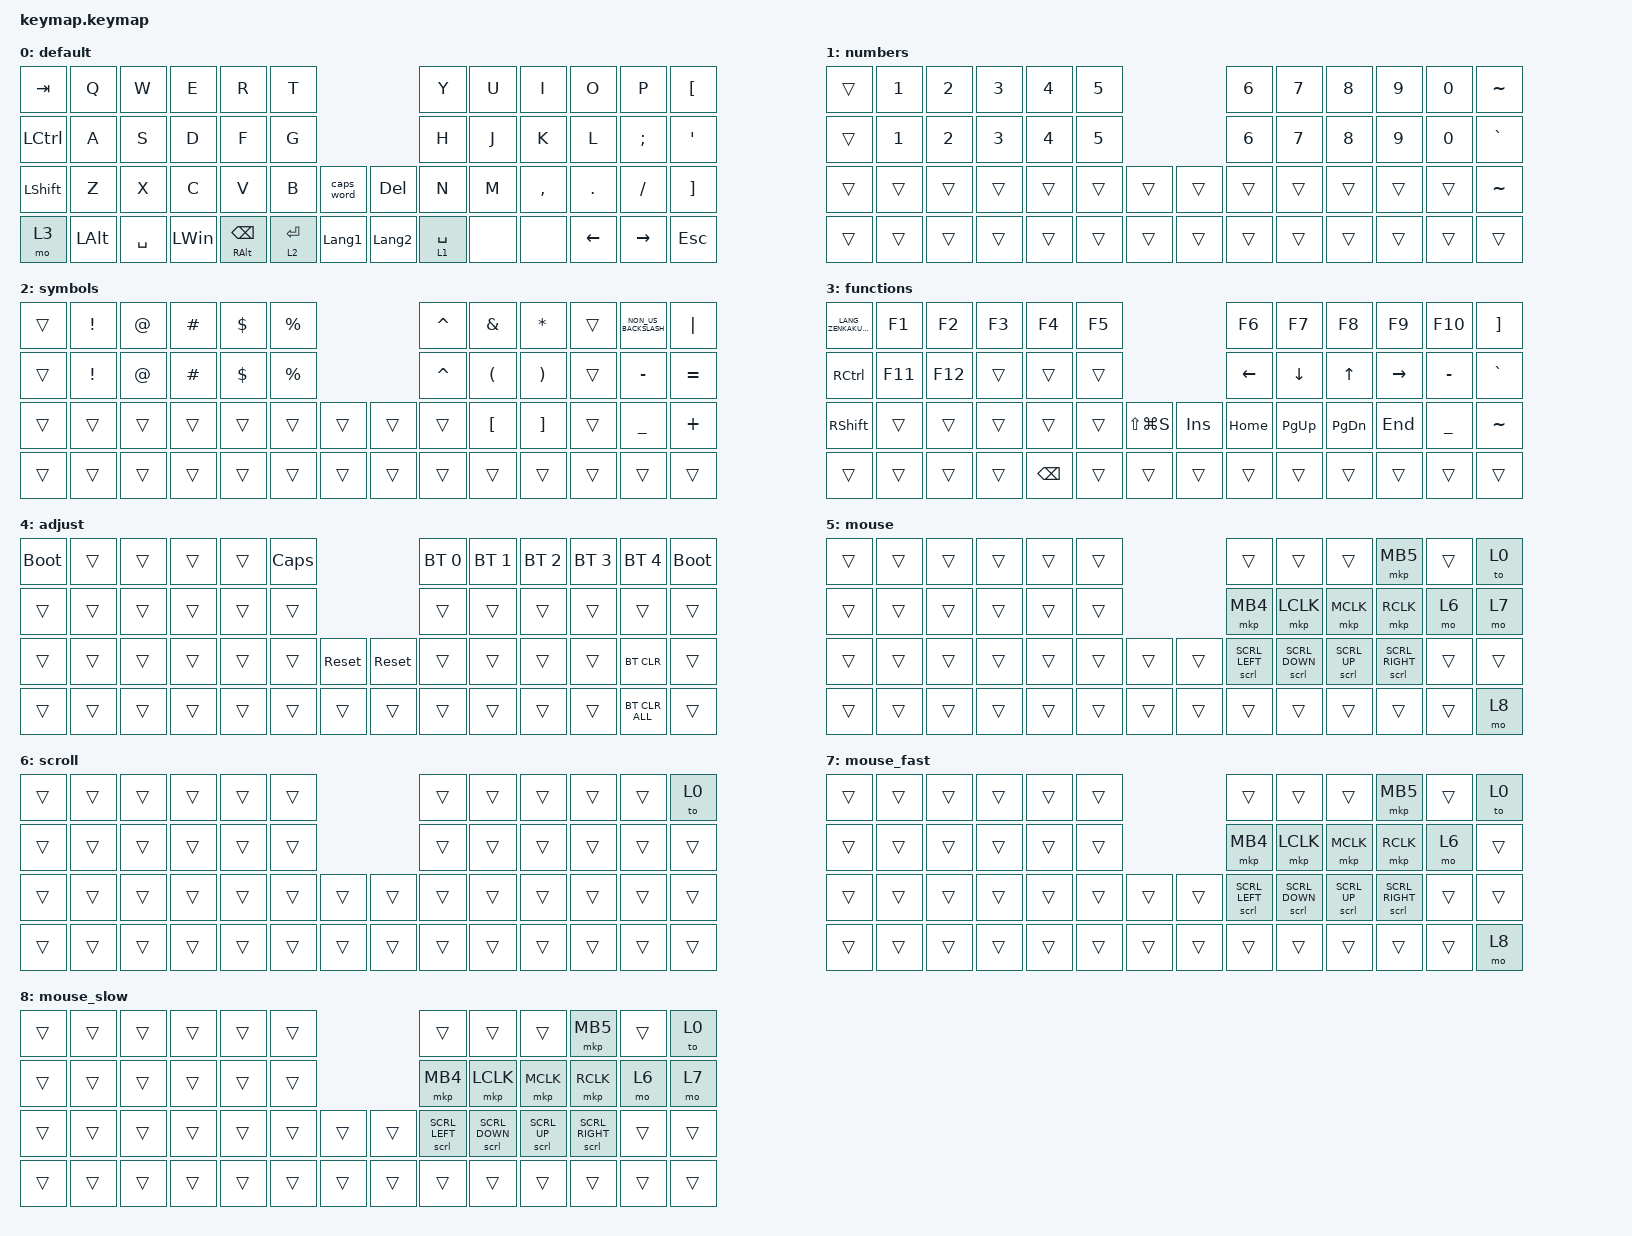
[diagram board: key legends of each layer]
#define ZMK_POINTING_DEFAULT_SCRL_VAL 3000  // hi-res(smooth=y): 3000*40/1000 = 120単位 = 1ノッチ/tick

#include <behaviors.dtsi>
#include <dt-bindings/zmk/bt.h>
#include <dt-bindings/zmk/keys.h>
#include <dt-bindings/zmk/pointing.h>

/ {
    macros {
        // 1タップで正確に1ノッチ(120単位)スクロールする離散スクロール。
        // behavior_queue の wait は「実行後、次の項目までの遅延」のため、
        // macro_wait_time 60 を macro_press の前に置く必要がある。
        // これにより press 項目に wait=60 が付き、その60ms保持中に
        // trigger-period-ms=40ms の最初のティックが発火して120単位=1ノッチを送信する。

        scrl: scrl {
            compatible = "zmk,behavior-macro-one-param";
            #binding-cells = <1>;
            wait-ms = <0>;
            bindings =
                <&macro_wait_time 60>,
                <&macro_param_1to1>,
                <&macro_press>,
                <&msc MACRO_PLACEHOLDER &macro_param_1to1>,
                <&macro_release>,
                <&msc MACRO_PLACEHOLDER>;
        };
    };

    combos {
        compatible = "zmk,combos";

        to_adjust {
            bindings = <&mo 4>;
            key-positions = <44 45>;
        };

        tab {
            bindings = <&kp TAB>;
            key-positions = <14 15>;
        };

        to_adjust_left {
            bindings = <&mo 4>;
            key-positions = <38 44>;
        };

        to_adjust_right {
            bindings = <&mo 4>;
            key-positions = <51 45>;
        };
    };

    keymap {
        compatible = "zmk,keymap";

        default {
            bindings = <
&kp TAB         &kp Q         &kp W      &kp E         &kp R                    &kp T                                        &kp Y        &kp U  &kp I      &kp O     &kp P            &kp LEFT_BRACKET
&kp LCTRL       &kp A         &kp S      &kp D         &kp F                    &kp G                                        &kp H        &kp J  &kp K      &kp L     &kp SEMI         &kp SQT
&kp LEFT_SHIFT  &kp Z         &kp X      &kp C         &kp V                    &kp B        &caps_word      &kp DELETE      &kp N        &kp M  &kp COMMA  &kp DOT   &kp SLASH        &kp RIGHT_BRACKET
&mo 3           &kp LEFT_ALT  &kp SPACE  &kp LEFT_WIN  &mt RIGHT_ALT BACKSPACE  &lt 2 ENTER  &kp LANGUAGE_1  &kp LANGUAGE_2  &lt 1 SPACE  &none  &none      &kp LEFT  &kp RIGHT_ARROW  &kp ESCAPE
            >;
        };

        numbers {
            bindings = <
&trans  &kp NUMBER_1  &kp NUMBER_2  &kp NUMBER_3  &kp NUMBER_4  &kp N5                        &kp NUMBER_6  &kp NUMBER_7  &kp NUMBER_8  &kp NUMBER_9  &kp NUMBER_0  &kp TILDE
&trans  &kp NUMBER_1  &kp NUMBER_2  &kp NUMBER_3  &kp NUMBER_4  &kp NUMBER_5                  &kp NUMBER_6  &kp NUMBER_7  &kp NUMBER_8  &kp NUMBER_9  &kp NUMBER_0  &kp GRAVE
&trans  &trans        &trans        &trans        &trans        &trans        &trans  &trans  &trans        &trans        &trans        &trans        &trans        &kp TILDE
&trans  &trans        &trans        &trans        &trans        &trans        &trans  &trans  &trans        &trans        &trans        &trans        &trans        &trans
            >;
        };

        symbols {
            bindings = <
&trans  &kp EXCLAMATION  &kp AT_SIGN  &kp HASH  &kp DOLLAR  &kp PERCENT                  &kp CARET  &kp AMPERSAND         &kp ASTERISK           &trans  &kp NON_US_BACKSLASH  &kp PIPE
&trans  &kp EXCLAMATION  &kp AT_SIGN  &kp HASH  &kp DOLLAR  &kp PERCENT                  &kp CARET  &kp LEFT_PARENTHESIS  &kp RIGHT_PARENTHESIS  &trans  &kp MINUS             &kp EQUAL
&trans  &trans           &trans       &trans    &trans      &trans       &trans  &trans  &trans     &kp LEFT_BRACKET      &kp RIGHT_BRACKET      &trans  &kp UNDERSCORE        &kp PLUS
&trans  &trans           &trans       &trans    &trans      &trans       &trans  &trans  &trans     &trans                &trans                 &trans  &trans                &trans
            >;
        };

        functions {
            bindings = <
&kp LANG_ZENKAKUHANKAKU  &kp F1   &kp F2   &kp F3  &kp F4         &kp F5                             &kp F6          &kp F7          &kp F8         &kp F9           &kp F10         &kp RIGHT_BRACKET
&kp RIGHT_CONTROL        &kp F11  &kp F12  &trans  &trans         &trans                             &kp LEFT_ARROW  &kp DOWN_ARROW  &kp UP_ARROW   &kp RIGHT_ARROW  &kp MINUS       &kp GRAVE
&kp RIGHT_SHIFT          &trans   &trans   &trans  &trans         &trans  &kp LS(LG(S))  &kp INSERT  &kp HOME        &kp PAGE_UP     &kp PAGE_DOWN  &kp END          &kp UNDERSCORE  &kp TILDE
&trans                   &trans   &trans   &trans  &kp BACKSPACE  &trans  &trans         &trans      &trans          &trans          &trans         &trans           &trans          &trans
            >;
        };

        adjust {
            bindings = <
&bootloader  &trans  &trans  &trans  &trans  &kp CAPSLOCK                          &bt BT_SEL 0  &bt BT_SEL 1  &bt BT_SEL 2  &bt BT_SEL 3  &bt BT_SEL 4    &bootloader
&trans       &trans  &trans  &trans  &trans  &trans                                &trans        &trans        &trans        &trans        &trans          &trans
&trans       &trans  &trans  &trans  &trans  &trans        &sys_reset  &sys_reset  &trans        &trans        &trans        &trans        &bt BT_CLR      &trans
&trans       &trans  &trans  &trans  &trans  &trans        &trans      &trans      &trans        &trans        &trans        &trans        &bt BT_CLR_ALL  &trans
            >;
        };

        mouse {
            bindings = <
&trans  &trans  &trans  &trans  &trans  &trans                  &trans           &trans           &trans         &mkp MB5          &trans  &to 0
&trans  &trans  &trans  &trans  &trans  &trans                  &mkp MB4         &mkp LCLK        &mkp MCLK      &mkp RCLK         &mo 6   &mo 7
&trans  &trans  &trans  &trans  &trans  &trans  &trans  &trans  &scrl SCRL_LEFT  &scrl SCRL_DOWN  &scrl SCRL_UP  &scrl SCRL_RIGHT  &trans  &trans
&trans  &trans  &trans  &trans  &trans  &trans  &trans  &trans  &trans           &trans           &trans         &trans            &trans  &mo 8
            >;
        };

        scroll {
            bindings = <
&trans  &trans  &trans  &trans  &trans  &trans                  &trans  &trans  &trans  &trans  &trans  &to 0
&trans  &trans  &trans  &trans  &trans  &trans                  &trans  &trans  &trans  &trans  &trans  &trans
&trans  &trans  &trans  &trans  &trans  &trans  &trans  &trans  &trans  &trans  &trans  &trans  &trans  &trans
&trans  &trans  &trans  &trans  &trans  &trans  &trans  &trans  &trans  &trans  &trans  &trans  &trans  &trans
            >;
        };

        mouse_fast {
            bindings = <
&trans  &trans  &trans  &trans  &trans  &trans                  &trans           &trans           &trans         &mkp MB5          &trans  &to 0
&trans  &trans  &trans  &trans  &trans  &trans                  &mkp MB4         &mkp LCLK        &mkp MCLK      &mkp RCLK         &mo 6   &trans
&trans  &trans  &trans  &trans  &trans  &trans  &trans  &trans  &scrl SCRL_LEFT  &scrl SCRL_DOWN  &scrl SCRL_UP  &scrl SCRL_RIGHT  &trans  &trans
&trans  &trans  &trans  &trans  &trans  &trans  &trans  &trans  &trans           &trans           &trans         &trans            &trans  &mo 8
            >;
        };

        mouse_slow {
            bindings = <
&trans  &trans  &trans  &trans  &trans  &trans                  &trans           &trans           &trans         &mkp MB5          &trans  &to 0
&trans  &trans  &trans  &trans  &trans  &trans                  &mkp MB4         &mkp LCLK        &mkp MCLK      &mkp RCLK         &mo 6   &mo 7
&trans  &trans  &trans  &trans  &trans  &trans  &trans  &trans  &scrl SCRL_LEFT  &scrl SCRL_DOWN  &scrl SCRL_UP  &scrl SCRL_RIGHT  &trans  &trans
&trans  &trans  &trans  &trans  &trans  &trans  &trans  &trans  &trans           &trans           &trans         &trans            &trans  &trans
            >;
        };
    };
};

&msc { trigger-period-ms = <40>; };

// excluded-positions にはマウス操作キーに加えて Modifier の位置
// (12=LCTRL, 24=LSHIFT, 39=LALT, 41=LWIN, 42=mt RALT/BSPC) を含める。
// 除外しないと Modifier 押下の瞬間にテンポラリレイヤーが解除され、
// Shift+クリック等の複合操作ができない。

&zip_temp_layer {
    require-prior-idle-ms = <500>;
    excluded-positions = <9 11 12 18 19 20 21 22 23 24 32 33 34 35 39 41 42 51>;
};

// クリック/スクロール操作中はマウスレイヤーの消灯タイマーを延長する。
// 移動イベント側は zip_temp_layer 5 700 のまま据え置き、
// クリック(mkp)とスクロール(msc)だけ 1000ms で再スケジュールする。
// layer_disable_works[] はレイヤー番号でインデックスされる共有配列なので、
// どちらのリスナーからでもレイヤー5のタイマーをリセットできる。

&mkp_input_listener { input-processors = <&zip_temp_layer 5 1000>; };

&msc_input_listener { input-processors = <&zip_temp_layer 5 1000>; };
